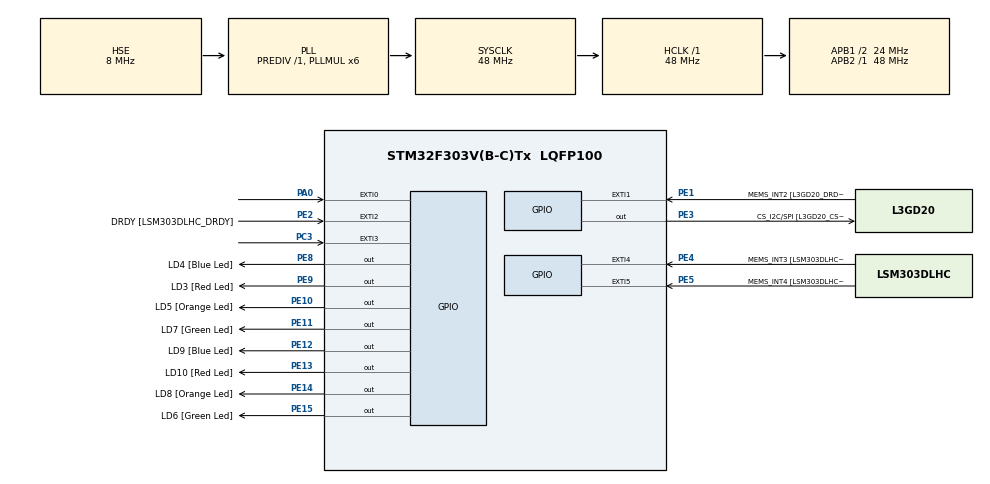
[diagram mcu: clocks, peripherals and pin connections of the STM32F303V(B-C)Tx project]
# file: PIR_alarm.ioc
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Mcu.Family=STM32F3
Mcu.Name=STM32F303V(B-C)Tx
Mcu.Package=LQFP100
NVIC.EXTI0_IRQn=true\:1\:0\:true\:false\:true\:true\:true
NVIC.EXTI3_IRQn=true\:2\:0\:true\:false\:true\:true\:true
NVIC.PriorityGroup=NVIC_PRIORITYGROUP_3
NVIC.TIM3_IRQn=true\:3\:0\:true\:false\:true\:true\:true
NVIC.TIM4_IRQn=true\:4\:0\:true\:false\:true\:true\:true
PA0.GPIO_ModeDefaultEXTI=GPIO_MODE_IT_RISING_FALLING
PA0.GPIO_PuPd=GPIO_PULLDOWN
PA0.Signal=GPXTI0
PA11.GPIO_Label=DM
PA11.Signal=USB_DM
PA12.GPIO_Label=DP
PA12.Signal=USB_DP
PA13.GPIO_Label=SWDIO
PA13.Mode=Serial_Wire
PA13.Signal=SYS_JTMS-SWDIO
PA14.GPIO_Label=SWCLK
PA14.Mode=Serial_Wire
PA14.Signal=SYS_JTCK-SWCLK
PB3.GPIO_Label=SWO
PB3.Signal=SYS_JTDO-TRACESWO
PB6.GPIO_Label=I2C1_SCL [LSM303DLHC_SCL]
PB6.GPIO_Pu=GPIO_PULLUP
PB6.Signal=I2C1_SCL
PB7.GPIO_Label=I2C1_SDA [LSM303DLHC_SDA]
PB7.GPIO_Pu=GPIO_PULLUP
PB7.Signal=I2C1_SDA
PC14-OSC32_IN.GPIO_Label=OSC32_IN
PC14-OSC32_IN.Signal=RCC_OSC32_IN
PC15-OSC32_OUT.GPIO_Label=OSC32_OUT
PC15-OSC32_OUT.Signal=RCC_OSC32_OUT
PC3.Signal=GPXTI3
PE1.GPIO_Label=MEMS_INT2 [L3GD20_DRDY/INT2]
PE1.GPIO_ModeDefaultEXTI=GPIO_MODE_EVT_RISING
PE1.Signal=GPXTI1
PE10.GPIO_Label=LD5 [Orange Led]
PE10.Signal=GPIO_Output
PE11.GPIO_Label=LD7 [Green Led]
PE11.Signal=GPIO_Output
PE12.GPIO_Label=LD9 [Blue Led]
PE12.Signal=GPIO_Output
PE13.GPIO_Label=LD10 [Red Led]
PE13.Signal=GPIO_Output
PE14.GPIO_Label=LD8 [Orange Led]
PE14.Signal=GPIO_Output
PE15.GPIO_Label=LD6 [Green Led]
PE15.Signal=GPIO_Output
PE2.GPIO_Label=DRDY [LSM303DLHC_DRDY]
PE2.GPIO_ModeDefaultEXTI=GPIO_MODE_EVT_RISING
PE2.Signal=GPXTI2
PE3.GPIO_Label=CS_I2C/SPI [L3GD20_CS_I2C/SPI]
PE3.Signal=GPIO_Output
PE4.GPIO_Label=MEMS_INT3 [LSM303DLHC_INT1]
PE4.GPIO_ModeDefaultEXTI=GPIO_MODE_EVT_RISING
PE4.Signal=GPXTI4
PE5.GPIO_Label=MEMS_INT4 [LSM303DLHC_INT2]
PE5.GPIO_ModeDefaultEXTI=GPIO_MODE_EVT_RISING
PE5.Signal=GPXTI5
PE8.GPIO_Label=LD4 [Blue Led]
PE8.Signal=GPIO_Output
PE9.GPIO_Label=LD3 [Red Led]
PE9.Signal=GPIO_Output
PF0-OSC_IN.GPIO_Label=OSC_IN
PF0-OSC_IN.Mode=HSE-External-Clock-Source
PF0-OSC_IN.Signal=RCC_OSC_IN
PF1-OSC_OUT.GPIO_Label=OSC_OUT
PF1-OSC_OUT.Signal=RCC_OSC_OUT
ProjectManager.HeapSize=0x200
ProjectManager.StackSize=0x400
ProjectManager.TargetToolchain=STM32CubeIDE
RCC.AHBFreq_Value=48000000
RCC.APB1CLKDivider=RCC_HCLK_DIV2
RCC.APB1Freq_Value=24000000
RCC.APB1TimFreq_Value=48000000
RCC.APB2Freq_Value=48000000
RCC.APB2TimFreq_Value=48000000
RCC.CortexFreq_Value=48000000
RCC.HCLKFreq_Value=48000000
RCC.HSE_VALUE=8000000
RCC.HSI_VALUE=8000000
RCC.LSE_VALUE=32768
RCC.PLLMUL=RCC_PLL_MUL6
RCC.PLLSourceVirtual=RCC_PLLSOURCE_HSE
RCC.SYSCLKFreq_VALUE=48000000
RCC.SYSCLKSourceVirtual=RCC_SYSCLKSOURCE_PLLCLK
RCC.USBFreq_Value=48000000
RTC.AsynchPrediv=39
RTC.Format=RTC_FORMAT_BIN
RTC.Hours=18
RTC.Minutes=30
RTC.StoreOperation=RTC_STOREOPERATION_SET
RTC.SynchPrediv=999
TIM3.Period=9999
TIM3.Prescaler=4799
TIM4.Period=9999
TIM4.Prescaler=2399
VP_RTC_VS_RTC_Activate.Mode=RTC_Enabled
VP_RTC_VS_RTC_Calendar.Mode=RTC_Calendar
VP_TIM3_VS_ClockSourceINT.Mode=Internal
VP_TIM4_VS_ClockSourceINT.Mode=Internal
board=STM32F3DISCOVERY

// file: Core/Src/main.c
/* USER CODE BEGIN Header */
/**
  ******************************************************************************
  * @file           : main.c
  * @brief          : Main program body
  ******************************************************************************
  * @attention
  *
  * <h2><center>&copy; Copyright (c) 2021 STMicroelectronics.
  * All rights reserved.</center></h2>
  *
  * This software component is licensed by ST under BSD 3-Clause license,
  * the "License"; You may not use this file except in compliance with the
  * License. You may obtain a copy of the License at:
  *                        opensource.org/licenses/BSD-3-Clause
  *
  ******************************************************************************
  */
/* USER CODE END Header */
#include "main.h"

/* USER CODE BEGIN Includes */
#include "LiquidCrystal.h"
/* USER CODE END Includes */

RTC_HandleTypeDef hrtc;

TIM_HandleTypeDef htim3;
TIM_HandleTypeDef htim4;

/* USER CODE BEGIN PV */
RTC_DateTypeDef now_date;
RTC_TimeTypeDef now;
/* USER CODE END PV */

void SystemClock_Config(void);
static void MX_GPIO_Init(void);
static void MX_RTC_Init(void);
static void MX_TIM3_Init(void);
static void MX_TIM4_Init(void);

int main(void)
{

  /* MCU Configuration--------------------------------------------------------*/

  /* Reset of all peripherals, Initializes the Flash interface and the Systick. */
  HAL_Init();

  /* Configure the system clock */
  SystemClock_Config();

  /* Initialize all configured peripherals */
  MX_GPIO_Init();
  MX_RTC_Init();
  MX_TIM3_Init();
  MX_TIM4_Init();
  /* USER CODE BEGIN 2 */
  now.Hours = 18;
  now.Minutes = 30;
  now.Seconds = 0;
  HAL_RTC_SetTime(&hrtc, &now, RTC_FORMAT_BIN);
  now_date.Year = 21;
  now_date.Month = 12;
  now_date.WeekDay = RTC_WEEKDAY_MONDAY;
  now_date.Date = 6;
  HAL_RTC_SetDate(&hrtc, &now_date, RTC_FORMAT_BIN);
  LiquidCrystal(GPIOD, GPIO_PIN_8, GPIO_PIN_9, GPIO_PIN_10, GPIO_PIN_11, GPIO_PIN_12, GPIO_PIN_13, GPIO_PIN_14);
  begin(20, 4);
  HAL_TIM_Base_Start_IT(&htim4);
  HAL_TIM_Base_Start_IT(&htim3);

  /* USER CODE END 2 */

  /* Infinite loop */
  while (1)
  {

  }
}

void SystemClock_Config(void)
{
  RCC_OscInitTypeDef RCC_OscInitStruct = {0};
  RCC_ClkInitTypeDef RCC_ClkInitStruct = {0};
  RCC_PeriphCLKInitTypeDef PeriphClkInit = {0};

  /** Initializes the RCC Oscillators according to the specified parameters
  * in the RCC_OscInitTypeDef structure.
  */
  RCC_OscInitStruct.OscillatorType = RCC_OSCILLATORTYPE_LSI|RCC_OSCILLATORTYPE_HSE;
  RCC_OscInitStruct.HSEState = RCC_HSE_BYPASS;
  RCC_OscInitStruct.HSEPredivValue = RCC_HSE_PREDIV_DIV1;
  RCC_OscInitStruct.HSIState = RCC_HSI_ON;
  RCC_OscInitStruct.LSIState = RCC_LSI_ON;
  RCC_OscInitStruct.PLL.PLLState = RCC_PLL_ON;
  RCC_OscInitStruct.PLL.PLLSource = RCC_PLLSOURCE_HSE;
  RCC_OscInitStruct.PLL.PLLMUL = RCC_PLL_MUL6;
  if (HAL_RCC_OscConfig(&RCC_OscInitStruct) != HAL_OK)
  {
    Error_Handler();
  }
  /** Initializes the CPU, AHB and APB buses clocks
  */
  RCC_ClkInitStruct.ClockType = RCC_CLOCKTYPE_HCLK|RCC_CLOCKTYPE_SYSCLK
                              |RCC_CLOCKTYPE_PCLK1|RCC_CLOCKTYPE_PCLK2;
  RCC_ClkInitStruct.SYSCLKSource = RCC_SYSCLKSOURCE_PLLCLK;
  RCC_ClkInitStruct.AHBCLKDivider = RCC_SYSCLK_DIV1;
  RCC_ClkInitStruct.APB1CLKDivider = RCC_HCLK_DIV2;
  RCC_ClkInitStruct.APB2CLKDivider = RCC_HCLK_DIV1;

  if (HAL_RCC_ClockConfig(&RCC_ClkInitStruct, FLASH_LATENCY_1) != HAL_OK)
  {
    Error_Handler();
  }
  PeriphClkInit.PeriphClockSelection = RCC_PERIPHCLK_RTC;
  PeriphClkInit.RTCClockSelection = RCC_RTCCLKSOURCE_LSI;
  if (HAL_RCCEx_PeriphCLKConfig(&PeriphClkInit) != HAL_OK)
  {
    Error_Handler();
  }
}

static void MX_RTC_Init(void)
{

  RTC_TimeTypeDef sTime = {0};
  RTC_DateTypeDef sDate = {0};

  /** Initialize RTC Only
  */
  hrtc.Instance = RTC;
  hrtc.Init.HourFormat = RTC_HOURFORMAT_24;
  hrtc.Init.AsynchPrediv = 39;
  hrtc.Init.SynchPrediv = 999;
  hrtc.Init.OutPut = RTC_OUTPUT_DISABLE;
  hrtc.Init.OutPutPolarity = RTC_OUTPUT_POLARITY_HIGH;
  hrtc.Init.OutPutType = RTC_OUTPUT_TYPE_OPENDRAIN;
  if (HAL_RTC_Init(&hrtc) != HAL_OK)
  {
    Error_Handler();
  }

  /** Initialize RTC and set the Time and Date
  */
  sTime.Hours = 18;
  sTime.Minutes = 30;
  sTime.Seconds = 0;
  sTime.DayLightSaving = RTC_DAYLIGHTSAVING_NONE;
  sTime.StoreOperation = RTC_STOREOPERATION_SET;
  if (HAL_RTC_SetTime(&hrtc, &sTime, RTC_FORMAT_BIN) != HAL_OK)
  {
    Error_Handler();
  }
  sDate.WeekDay = RTC_WEEKDAY_MONDAY;
  sDate.Month = RTC_MONTH_JANUARY;
  sDate.Date = 1;
  sDate.Year = 0;

  if (HAL_RTC_SetDate(&hrtc, &sDate, RTC_FORMAT_BIN) != HAL_OK)
  {
    Error_Handler();
  }

}

static void MX_TIM3_Init(void)
{

  TIM_ClockConfigTypeDef sClockSourceConfig = {0};
  TIM_MasterConfigTypeDef sMasterConfig = {0};

  htim3.Instance = TIM3;
  htim3.Init.Prescaler = 4799;
  htim3.Init.CounterMode = TIM_COUNTERMODE_UP;
  htim3.Init.Period = 9999;
  htim3.Init.ClockDivision = TIM_CLOCKDIVISION_DIV1;
  htim3.Init.AutoReloadPreload = TIM_AUTORELOAD_PRELOAD_DISABLE;
  if (HAL_TIM_Base_Init(&htim3) != HAL_OK)
  {
    Error_Handler();
  }
  sClockSourceConfig.ClockSource = TIM_CLOCKSOURCE_INTERNAL;
  if (HAL_TIM_ConfigClockSource(&htim3, &sClockSourceConfig) != HAL_OK)
  {
    Error_Handler();
  }
  sMasterConfig.MasterOutputTrigger = TIM_TRGO_RESET;
  sMasterConfig.MasterSlaveMode = TIM_MASTERSLAVEMODE_DISABLE;
  if (HAL_TIMEx_MasterConfigSynchronization(&htim3, &sMasterConfig) != HAL_OK)
  {
    Error_Handler();
  }

}

static void MX_TIM4_Init(void)
{

  TIM_ClockConfigTypeDef sClockSourceConfig = {0};
  TIM_MasterConfigTypeDef sMasterConfig = {0};

  htim4.Instance = TIM4;
  htim4.Init.Prescaler = 2399;
  htim4.Init.CounterMode = TIM_COUNTERMODE_UP;
  htim4.Init.Period = 9999;
  htim4.Init.ClockDivision = TIM_CLOCKDIVISION_DIV1;
  htim4.Init.AutoReloadPreload = TIM_AUTORELOAD_PRELOAD_DISABLE;
  if (HAL_TIM_Base_Init(&htim4) != HAL_OK)
  {
    Error_Handler();
  }
  sClockSourceConfig.ClockSource = TIM_CLOCKSOURCE_INTERNAL;
  if (HAL_TIM_ConfigClockSource(&htim4, &sClockSourceConfig) != HAL_OK)
  {
    Error_Handler();
  }
  sMasterConfig.MasterOutputTrigger = TIM_TRGO_RESET;
  sMasterConfig.MasterSlaveMode = TIM_MASTERSLAVEMODE_DISABLE;
  if (HAL_TIMEx_MasterConfigSynchronization(&htim4, &sMasterConfig) != HAL_OK)
  {
    Error_Handler();
  }

}

static void MX_GPIO_Init(void)
{
  GPIO_InitTypeDef GPIO_InitStruct = {0};

  /* GPIO Ports Clock Enable */
  __HAL_RCC_GPIOE_CLK_ENABLE();
  __HAL_RCC_GPIOC_CLK_ENABLE();
  __HAL_RCC_GPIOF_CLK_ENABLE();
  __HAL_RCC_GPIOA_CLK_ENABLE();
  __HAL_RCC_GPIOB_CLK_ENABLE();

  /*Configure GPIO pin Output Level */
  HAL_GPIO_WritePin(GPIOE, CS_I2C_SPI_Pin|LD4_Pin|LD3_Pin|LD5_Pin
                          |LD7_Pin|LD9_Pin|LD10_Pin|LD8_Pin
                          |LD6_Pin, GPIO_PIN_RESET);

  /*Configure GPIO pins : DRDY_Pin MEMS_INT3_Pin MEMS_INT4_Pin MEMS_INT2_Pin */
  GPIO_InitStruct.Pin = DRDY_Pin|MEMS_INT3_Pin|MEMS_INT4_Pin|MEMS_INT2_Pin;
  GPIO_InitStruct.Mode = GPIO_MODE_EVT_RISING;
  GPIO_InitStruct.Pull = GPIO_NOPULL;
  HAL_GPIO_Init(GPIOE, &GPIO_InitStruct);

  /*Configure GPIO pins : CS_I2C_SPI_Pin LD4_Pin LD3_Pin LD5_Pin
                           LD7_Pin LD9_Pin LD10_Pin LD8_Pin
                           LD6_Pin */
  GPIO_InitStruct.Pin = CS_I2C_SPI_Pin|LD4_Pin|LD3_Pin|LD5_Pin
                          |LD7_Pin|LD9_Pin|LD10_Pin|LD8_Pin
                          |LD6_Pin;
  GPIO_InitStruct.Mode = GPIO_MODE_OUTPUT_PP;
  GPIO_InitStruct.Pull = GPIO_NOPULL;
  GPIO_InitStruct.Speed = GPIO_SPEED_FREQ_LOW;
  HAL_GPIO_Init(GPIOE, &GPIO_InitStruct);

  /*Configure GPIO pin : PC3 */
  GPIO_InitStruct.Pin = GPIO_PIN_3;
  GPIO_InitStruct.Mode = GPIO_MODE_IT_RISING;
  GPIO_InitStruct.Pull = GPIO_NOPULL;
  HAL_GPIO_Init(GPIOC, &GPIO_InitStruct);

  /*Configure GPIO pin : PA0 */
  GPIO_InitStruct.Pin = GPIO_PIN_0;
  GPIO_InitStruct.Mode = GPIO_MODE_IT_RISING_FALLING;
  GPIO_InitStruct.Pull = GPIO_PULLDOWN;
  HAL_GPIO_Init(GPIOA, &GPIO_InitStruct);

  /*Configure GPIO pins : DM_Pin DP_Pin */
  GPIO_InitStruct.Pin = DM_Pin|DP_Pin;
  GPIO_InitStruct.Mode = GPIO_MODE_AF_PP;
  GPIO_InitStruct.Pull = GPIO_NOPULL;
  GPIO_InitStruct.Speed = GPIO_SPEED_FREQ_HIGH;
  GPIO_InitStruct.Alternate = GPIO_AF14_USB;
  HAL_GPIO_Init(GPIOA, &GPIO_InitStruct);

  /*Configure GPIO pins : I2C1_SCL_Pin I2C1_SDA_Pin */
  GPIO_InitStruct.Pin = I2C1_SCL_Pin|I2C1_SDA_Pin;
  GPIO_InitStruct.Mode = GPIO_MODE_AF_OD;
  GPIO_InitStruct.Pull = GPIO_PULLUP;
  GPIO_InitStruct.Speed = GPIO_SPEED_FREQ_HIGH;
  GPIO_InitStruct.Alternate = GPIO_AF4_I2C1;
  HAL_GPIO_Init(GPIOB, &GPIO_InitStruct);

  /* EXTI interrupt init*/
  HAL_NVIC_SetPriority(EXTI0_IRQn, 1, 0);
  HAL_NVIC_EnableIRQ(EXTI0_IRQn);

  HAL_NVIC_SetPriority(EXTI3_IRQn, 2, 0);
  HAL_NVIC_EnableIRQ(EXTI3_IRQn);

}

void Error_Handler(void)
{
  __disable_irq();
  while (1)
  {
  }
}

/************************ (C) COPYRIGHT STMicroelectronics *****END OF FILE****/
